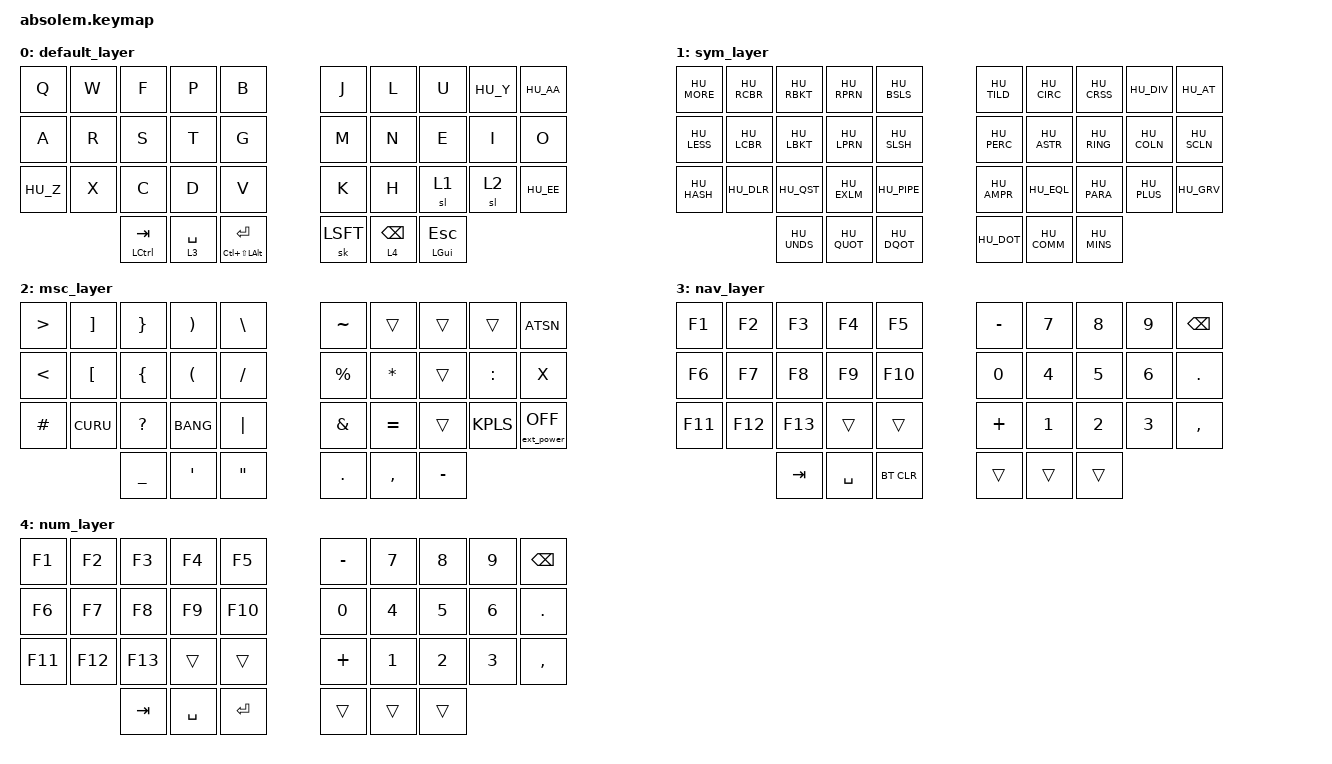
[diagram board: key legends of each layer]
/*
 * Copyright (c) 2020 The ZMK Contributors
 *
 * SPDX-License-Identifier: MIT
 */

#include <behaviors.dtsi>
#include <dt-bindings/zmk/keys.h>
#include <dt-bindings/zmk/bt.h>
#include <dt-bindings/zmk/ext_power.h>
#include "hungarian.h"


/ {
        keymap {
                compatible = "zmk,keymap";

                default_layer {

                        bindings = <
   &kp Q &kp W &kp F &kp P &kp B   			&kp J &kp L  &kp U    &kp HU_Y  &kp HU_AA
   &kp A &kp R &kp S &kp T &kp G   			&kp M &kp N  &kp E    &kp I  &kp O
   &kp HU_Z &kp X &kp C &kp D &kp V   			&kp K &kp H  &sl 1    &sl 2 &kp HU_EE
   &mt LCTL TAB &lt 3 SPACE  &mt LC(LS(LALT)) RET      	&sk LSFT &lt 4 BKSP   &mt LGUI ESC
                        >;
                };



                sym_layer {

                        bindings = <
            &kp HU_MORE &kp HU_RCBR &kp HU_RBKT  &kp HU_RPRN  &kp HU_BSLS  	&kp HU_TILD &kp HU_CIRC &kp HU_CRSS &kp HU_DIV &kp HU_AT
            &kp HU_LESS &kp HU_LCBR &kp HU_LBKT  &kp HU_LPRN  &kp HU_SLSH      &kp HU_PERC &kp HU_ASTR &kp HU_RING &kp HU_COLN &kp HU_SCLN
            &kp HU_HASH &kp HU_DLR &kp HU_QST &kp HU_EXLM  &kp HU_PIPE 	&kp HU_AMPR &kp HU_EQL &kp HU_PARA &kp HU_PLUS &kp HU_GRV
            &kp HU_UNDS &kp HU_QUOT &kp HU_DQOT				&kp HU_DOT  &kp HU_COMM &kp HU_MINS
              

                        >;
                };


         
  		msc_layer {

                        bindings = <
     &kp GT    &kp RBKT &kp RBRC  &kp RPRN  &kp BSLH  	&kp TILDE &trans &trans &trans &kp ATSN 
            &kp LT    &kp LBKT &kp LBRC  &kp LPRN  &kp FSLH     &kp PRCNT &kp ASTRK &trans &kp COLN  &kp X 
            &kp HASH  &kp CURU &kp QMARK &kp BANG  &kp PIPE 	&kp AMPS  &kp EQL &trans &kp KPLS &ext_power EP_OFF
            &kp UNDER &kp QUOT &kp DQT				&kp DOT  &kp CMMA &kp MINUS
                        >;
                };



                nav_layer {

                        bindings = <
   &kp F1    &kp F2    &kp F3    &kp F4    &kp F5  		&kp MINUS &kp NUM_7 &kp NUM_8 &kp NUM_9 &kp BKSP
   &kp F6    &kp F7    &kp F8    &kp F9    &kp F10   		&kp NUM_0 &kp NUM_4 &kp NUM_5 &kp NUM_6 &kp DOT
   &kp F11   &kp F12   &kp F13	 &trans    &trans 		&kp PLUS  &kp NUM_1 &kp NUM_2 &kp NUM_3 &kp CMMA
   &kp TAB &kp SPACE &bt BT_CLR					&trans 	&trans &trans
                        >;
                };



//NUM
                num_layer {

                        bindings = <
  
   &kp F1    &kp F2    &kp F3    &kp F4    &kp F5  		&kp MINUS &kp NUM_7 &kp NUM_8 &kp NUM_9 &kp BKSP
   &kp F6    &kp F7    &kp F8    &kp F9    &kp F10   		&kp NUM_0 &kp NUM_4 &kp NUM_5 &kp NUM_6 &kp DOT
   &kp F11   &kp F12   &kp F13	 &trans    &trans 		&kp PLUS  &kp NUM_1 &kp NUM_2 &kp NUM_3 &kp CMMA
   &kp TAB &kp SPACE &kp RET 					&trans 	&trans &trans

                        >;
                };

  




          
        };
};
